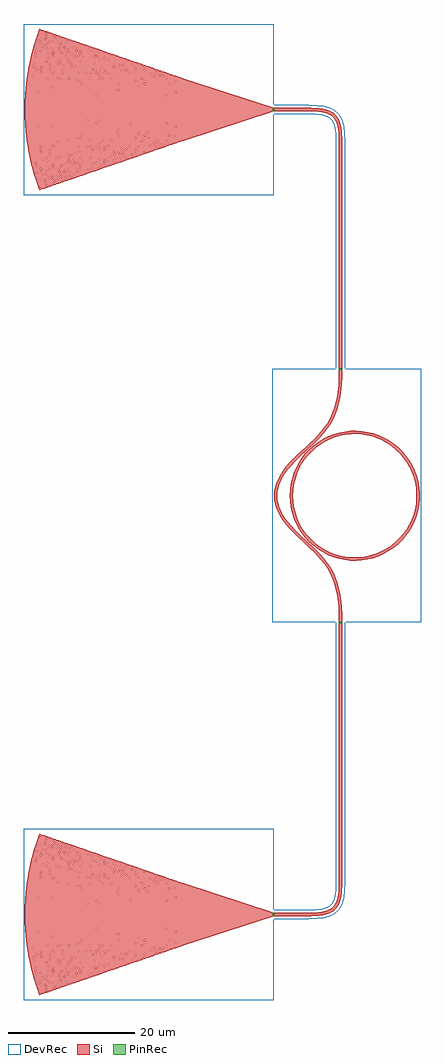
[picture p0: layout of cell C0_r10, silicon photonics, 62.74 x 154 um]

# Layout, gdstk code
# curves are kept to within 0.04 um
from math import pi, radians
import gdstk
lib = gdstk.Library(unit=1e-6, precision=1e-09)
def R(c, l, rs):  # rectangles x0, y0, x1, y1
    for r in rs: c.add(gdstk.rectangle(r[:2], r[2:], *l))
def P(c, l, *ps):  # polygons
    for p in ps: c.add(gdstk.Polygon(p, *l))
Si = (1, 0)
PinRec = (1, 10)
DevRec = (68, 0)

grating_te_8deg = lib.new_cell('Grating_TE_8deg')
P(grating_te_8deg, Si, [(-4.885,-5.442),(-5.022,-5.044),(-4.233,-4.773),(-2.42,-4.338),(-0.596,-4.144),(0.821,-4.155),(2.325,-4.322),(3.677,-4.613),(5.022,-5.044),(4.885,-5.442),(3.395,-4.975),(2.107,-4.714),(0.799,-4.576),(-0.58,-4.565),(-1.704,-4.658),(-2.724,-4.823),(-3.818,-5.089)],
  [(-5.045,-4.978),(-5.076,-4.889),(-4.617,-4.725),(-3.684,-4.445),(-2.893,-4.26),(-2.189,-4.134),(-1.544,-4.05),(-0.83,-3.991),(-0.147,-3.968),(0.505,-3.976),(1.187,-4.016),(1.802,-4.08),(2.51,-4.187),(3.243,-4.336),(3.873,-4.496),(4.494,-4.684),(5.076,-4.889),(5.045,-4.978),(4.344,-4.735),(3.693,-4.545),(3.034,-4.386),(2.335,-4.253),(1.695,-4.162),(1.115,-4.105),(0.566,-4.073),(-0.113,-4.062),(-0.728,-4.08),(-1.277,-4.119),(-1.855,-4.182),(-2.527,-4.286),(-3.192,-4.421),(-3.818,-4.579),(-4.375,-4.745)],
  [(-5.097,-4.826),(-5.234,-4.427),(-4.187,-4.077),(-2.357,-3.664),(-0.52,-3.485),(0.99,-3.509),(2.456,-3.68),(3.929,-4.004),(5.234,-4.427),(5.097,-4.826),(3.732,-4.387),(2.328,-4.086),(0.736,-3.916),(-0.605,-3.91),(-1.778,-4.007),(-2.938,-4.199),(-4.078,-4.484)],
  [(-5.257,-4.361),(-5.288,-4.272),(-4.746,-4.08),(-3.904,-3.827),(-2.981,-3.61),(-2.314,-3.491),(-1.473,-3.384),(-0.763,-3.331),(-0.085,-3.312),(0.526,-3.321),(1.203,-3.36),(1.945,-3.438),(2.582,-3.535),(3.246,-3.666),(3.904,-3.827),(4.618,-4.038),(5.288,-4.272),(5.257,-4.361),(4.559,-4.118),(3.849,-3.91),(3.195,-3.752),(2.4,-3.6),(1.833,-3.519),(1.196,-3.454),(0.455,-3.413),(-0.152,-3.407),(-0.826,-3.429),(-1.465,-3.478),(-2.167,-3.564),(-2.732,-3.658),(-3.392,-3.796),(-4.141,-3.991),(-4.655,-4.149)],
  [(-5.31,-4.209),(-5.447,-3.81),(-4.257,-3.417),(-2.384,-3.005),(-0.542,-2.83),(1.03,-2.855),(2.453,-3.016),(3.988,-3.343),(5.447,-3.81),(5.31,-4.209),(3.888,-3.752),(2.391,-3.433),(0.936,-3.271),(-0.63,-3.255),(-1.818,-3.352),(-3.06,-3.556),(-4.182,-3.834)],
  [(-5.47,-3.744),(-5.5,-3.655),(-5.004,-3.478),(-4.163,-3.22),(-3.17,-2.981),(-2.372,-2.837),(-1.673,-2.746),(-1.04,-2.691),(-0.159,-2.657),(0.582,-2.667),(1.181,-2.701),(1.988,-2.783),(2.755,-2.901),(3.48,-3.048),(4.163,-3.22),(4.77,-3.401),(5.5,-3.655),(5.47,-3.744),(4.71,-3.481),(3.937,-3.257),(3.255,-3.095),(2.463,-2.947),(1.907,-2.868),(1.174,-2.795),(0.509,-2.759),(-0.088,-2.751),(-0.754,-2.769),(-1.559,-2.829),(-2.151,-2.9),(-2.877,-3.019),(-3.699,-3.197),(-4.241,-3.34),(-4.81,-3.513)],
  [(-5.522,-3.592),(-5.659,-3.193),(-4.423,-2.785),(-2.477,-2.357),(-0.563,-2.175),(0.998,-2.196),(2.584,-2.374),(4.178,-2.717),(5.659,-3.193),(5.522,-3.592),(4.043,-3.117),(2.487,-2.785),(1.009,-2.619),(-0.549,-2.596),(-1.891,-2.701),(-3.079,-2.892),(-4.248,-3.173)],
  [(-5.682,-3.127),(-5.713,-3.038),(-5.058,-2.808),(-4.147,-2.539),(-3.185,-2.316),(-2.464,-2.189),(-1.701,-2.09),(-0.971,-2.03),(-0.092,-2.001),(0.605,-2.012),(1.409,-2.062),(2.137,-2.142),(2.897,-2.261),(3.65,-2.416),(4.394,-2.606),(5.058,-2.808),(5.713,-3.038),(5.682,-3.127),(4.962,-2.876),(4.16,-2.64),(3.382,-2.453),(2.558,-2.299),(1.837,-2.2),(1.147,-2.136),(0.565,-2.105),(-0.164,-2.096),(-0.82,-2.116),(-1.583,-2.173),(-2.342,-2.266),(-2.989,-2.374),(-3.701,-2.525),(-4.3,-2.678),(-4.996,-2.887)],
  [(-5.734,-2.975),(-5.872,-2.577),(-4.48,-2.122),(-2.532,-1.703),(-0.584,-1.52),(1.073,-1.544),(2.792,-1.745),(4.408,-2.102),(5.872,-2.577),(5.734,-2.975),(4.199,-2.482),(2.619,-2.143),(0.938,-1.958),(-0.57,-1.941),(-1.854,-2.037),(-3.161,-2.241),(-4.517,-2.571)],
  [(-5.894,-2.511),(-5.925,-2.421),(-5.21,-2.171),(-4.338,-1.913),(-3.415,-1.695),(-2.593,-1.546),(-1.84,-1.446),(-0.931,-1.371),(-0.133,-1.346),(0.703,-1.36),(1.462,-1.409),(2.142,-1.482),(2.93,-1.602),(3.712,-1.759),(4.448,-1.943),(5.102,-2.136),(5.925,-2.421),(5.894,-2.511),(5.076,-2.227),(4.315,-2.005),(3.619,-1.835),(2.803,-1.676),(2.093,-1.571),(1.454,-1.503),(0.737,-1.456),(-0.095,-1.44),(-0.737,-1.456),(-1.605,-1.517),(-2.355,-1.606),(-3.101,-1.729),(-3.913,-1.903),(-4.606,-2.085),(-5.219,-2.273)],
  [(-5.947,-2.358),(-6.084,-1.96),(-4.567,-1.468),(-2.508,-1.037),(-0.488,-0.861),(1.19,-0.895),(2.816,-1.085),(4.567,-1.468),(6.084,-1.96),(5.947,-2.358),(4.317,-1.837),(2.791,-1.508),(1.125,-1.313),(-0.591,-1.286),(-1.885,-1.381),(-3.353,-1.612),(-4.647,-1.928)],
  [(-6.107,-1.894),(-6.137,-1.805),(-5.397,-1.545),(-4.493,-1.278),(-3.499,-1.044),(-2.725,-0.904),(-1.867,-0.79),(-1.043,-0.721),(-0.059,-0.69),(0.728,-0.705),(1.553,-0.759),(2.374,-0.852),(3.074,-0.963),(3.806,-1.11),(4.607,-1.309),(5.36,-1.533),(6.137,-1.805),(6.107,-1.894),(5.296,-1.612),(4.509,-1.38),(3.634,-1.169),(2.827,-1.016),(2.052,-0.906),(1.389,-0.84),(0.607,-0.795),(-0.137,-0.785),(-0.998,-0.813),(-1.662,-0.864),(-2.518,-0.968),(-3.212,-1.084),(-3.978,-1.246),(-4.659,-1.421),(-5.481,-1.672)],
  [(-6.159,-1.741),(-6.296,-1.343),(-4.726,-0.834),(-2.556,-0.382),(-0.545,-0.207),(1.231,-0.241),(2.875,-0.431),(4.649,-0.813),(6.296,-1.343),(6.159,-1.741),(4.548,-1.222),(2.813,-0.848),(1.165,-0.659),(-0.494,-0.627),(-1.913,-0.725),(-3.395,-0.953),(-4.776,-1.285)],
  [(-6.319,-1.277),(-6.35,-1.188),(-5.622,-0.932),(-4.649,-0.643),(-3.66,-0.409),(-2.819,-0.256),(-1.931,-0.138),(-0.998,-0.062),(-0.143,-0.035),(0.672,-0.047),(1.526,-0.099),(2.335,-0.186),(3.22,-0.324),(3.978,-0.478),(4.767,-0.675),(5.468,-0.882),(6.35,-1.188),(6.319,-1.277),(5.48,-0.985),(4.548,-0.714),(3.682,-0.51),(2.885,-0.362),(2.083,-0.25),(1.518,-0.193),(0.709,-0.143),(-0.061,-0.129),(-0.831,-0.148),(-1.639,-0.204),(-2.445,-0.296),(-3.205,-0.417),(-4.156,-0.616),(-4.782,-0.777),(-5.634,-1.035)],
  [(-6.372,-1.125),(-6.509,-0.726),(-4.846,-0.189),(-2.725,0.255),(-0.605,0.447),(1.273,0.413),(3.054,0.203),(4.846,-0.189),(6.509,-0.726),(6.372,-1.125),(4.744,-0.598),(2.95,-0.207),(1.164,-0.002),(-0.552,0.027),(-2.1,-0.087),(-3.512,-0.309),(-5.019,-0.675)],
  [(-6.531,-0.66),(-6.562,-0.571),(-5.651,-0.255),(-4.601,0.045),(-3.658,0.259),(-2.705,0.424),(-1.87,0.527),(-0.947,0.597),(-0.063,0.621),(0.821,0.603),(1.661,0.547),(2.497,0.453),(3.328,0.322),(4.193,0.144),(5.007,-0.063),(5.771,-0.294),(6.562,-0.571),(6.531,-0.66),(5.704,-0.371),(4.782,-0.1),(3.846,0.124),(3.065,0.272),(2.361,0.376),(1.486,0.467),(0.733,0.512),(-0.147,0.526),(-1.068,0.496),(-1.82,0.437),(-2.527,0.354),(-3.436,0.206),(-4.214,0.042),(-5.024,-0.166),(-5.863,-0.423)],
  [(-6.584,-0.508),(-6.721,-0.109),(-5.045,0.434),(-2.814,0.904),(-0.625,1.102),(1.271,1.07),(3.154,0.85),(5.045,0.434),(6.721,-0.109),(6.584,-0.508),(4.739,0.08),(2.965,0.454),(1.203,0.652),(-0.57,0.682),(-2.087,0.574),(-3.629,0.335),(-5.105,-0.02)],
  [(-6.744,-0.043),(-6.775,0.046),(-5.875,0.359),(-4.792,0.671),(-3.819,0.894),(-2.965,1.047),(-1.974,1.175),(-1.064,1.247),(-0.152,1.276),(0.847,1.258),(1.671,1.204),(2.535,1.109),(3.35,0.983),(4.159,0.822),(5.002,0.616),(5.875,0.359),(6.775,0.046),(6.744,-0.043),(5.93,0.242),(5.021,0.513),(4.098,0.739),(3.165,0.919),(2.395,1.032),(1.577,1.117),(0.757,1.167),(-0.065,1.182),(-1.016,1.155),(-1.836,1.094),(-2.823,0.973),(-3.505,0.859),(-4.351,0.682),(-5.187,0.467),(-5.93,0.242)],
  [(-6.796,0.109),(-6.934,0.507),(-5.033,1.114),(-2.77,1.572),(-0.556,1.76),(1.4,1.718),(3.254,1.497),(5.205,1.068),(6.934,0.507),(6.796,0.109),(5.018,0.682),(3.147,1.088),(1.198,1.309),(-0.632,1.336),(-2.067,1.235),(-3.747,0.979),(-5.186,0.636)],
  [(-6.956,0.573),(-6.987,0.663),(-6.102,0.972),(-5.029,1.285),(-3.851,1.555),(-2.969,1.709),(-1.991,1.832),(-1.053,1.904),(-0.202,1.931),(0.739,1.918),(1.679,1.861),(2.57,1.765),(3.411,1.637),(4.377,1.444),(5.202,1.239),(6.102,0.972),(6.987,0.663),(6.956,0.573),(5.948,0.922),(5.05,1.182),(4.184,1.39),(3.132,1.588),(2.337,1.699),(1.494,1.781),(0.647,1.827),(-0.156,1.837),(-1.004,1.812),(-1.849,1.751),(-2.824,1.635),(-3.616,1.504),(-4.575,1.301),(-5.308,1.112),(-6.202,0.84)],
  [(-7.009,0.726),(-7.146,1.124),(-5.143,1.761),(-2.901,2.215),(-0.573,2.415),(1.397,2.375),(3.308,2.152),(5.276,1.726),(7.146,1.124),(7.009,0.726),(5.218,1.305),(3.378,1.713),(1.46,1.948),(-0.517,1.995),(-2.132,1.887),(-3.864,1.623),(-5.434,1.245)],
  [(-7.169,1.19),(-7.199,1.28),(-6.111,1.654),(-5.092,1.944),(-4.014,2.19),(-3.014,2.364),(-2.144,2.475),(-1.131,2.556),(-0.115,2.587),(0.716,2.575),(1.868,2.502),(2.785,2.397),(3.696,2.251),(4.6,2.064),(5.449,1.849),(6.331,1.584),(7.199,1.28),(7.169,1.19),(6.085,1.563),(5.16,1.829),(4.221,2.051),(3.319,2.221),(2.5,2.339),(1.677,2.424),(0.759,2.479),(-0.069,2.493),(-0.988,2.469),(-1.86,2.408),(-2.819,2.297),(-3.636,2.166),(-4.535,1.982),(-5.514,1.733),(-6.391,1.465)],
  [(-7.221,1.343),(-7.358,1.741),(-5.342,2.385),(-2.94,2.871),(-0.637,3.069),(1.439,3.029),(3.36,2.807),(5.342,2.385),(7.358,1.741),(7.221,1.343),(5.332,1.951),(3.389,2.375),(1.504,2.602),(-0.579,2.649),(-2.288,2.529),(-3.981,2.267),(-5.643,1.865)],
  [(-7.381,1.807),(-7.412,1.896),(-6.247,2.296),(-5.197,2.592),(-4.039,2.852),(-3.009,3.027),(-2.018,3.146),(-1.022,3.218),(-0.024,3.243),(1.022,3.218),(1.923,3.155),(2.867,3.047),(3.759,2.905),(4.735,2.704),(5.655,2.47),(6.563,2.195),(7.412,1.896),(7.381,1.807),(6.491,2.119),(5.495,2.416),(4.578,2.643),(3.37,2.876),(2.433,3.007),(1.632,3.085),(0.781,3.134),(-0.118,3.148),(-1.112,3.119),(-2.009,3.052),(-2.949,2.94),(-3.883,2.786),(-4.762,2.601),(-5.723,2.353),(-6.58,2.09)],
  [(-7.433,1.959),(-7.571,2.358),(-5.355,3.057),(-2.977,3.527),(-0.559,3.727),(1.48,3.683),(3.601,3.43),(5.683,2.97),(7.571,2.358),(7.433,1.959),(5.488,2.586),(3.442,3.03),(1.358,3.269),(-0.644,3.303),(-2.45,3.17),(-4.098,2.911),(-5.764,2.51)],
  [(-7.593,2.424),(-7.624,2.513),(-6.519,2.895),(-5.346,3.229),(-4.203,3.487),(-3.24,3.655),(-2.124,3.794),(-1.149,3.868),(-0.122,3.898),(0.758,3.885),(1.783,3.825),(2.804,3.716),(3.77,3.568),(4.681,3.387),(5.676,3.142),(6.612,2.865),(7.624,2.513),(7.593,2.424),(6.585,2.775),(5.606,3.063),(4.709,3.284),(3.707,3.483),(2.841,3.616),(1.922,3.718),(0.95,3.783),(-0.024,3.804),(-1.096,3.776),(-2.116,3.7),(-2.938,3.603),(-3.947,3.44),(-4.994,3.218),(-5.841,2.998),(-6.77,2.715)],
  [(-7.646,2.576),(-7.783,2.975),(-5.554,3.681),(-2.962,4.19),(-0.574,4.382),(1.522,4.337),(3.652,4.086),(5.698,3.643),(7.783,2.975),(7.646,2.576),(5.693,3.208),(3.685,3.653),(1.642,3.906),(-0.564,3.961),(-2.374,3.838),(-4.215,3.555),(-5.881,3.156)],
  [(-7.806,3.041),(-7.837,3.13),(-7.271,3.334),(-6.605,3.552),(-5.446,3.878),(-4.32,4.131),(-3.38,4.296),(-2.383,4.426),(-1.281,4.517),(-0.176,4.553),(0.729,4.542),(1.883,4.474),(2.832,4.373),(3.826,4.223),(5.007,3.984),(5.931,3.75),(6.796,3.492),(7.837,3.13),(7.806,3.041),(6.817,3.386),(5.667,3.723),(4.597,3.978),(3.663,4.155),(2.672,4.298),(1.876,4.38),(0.826,4.444),(-0.125,4.459),(-0.976,4.438),(-2.075,4.362),(-3.02,4.253),(-4.106,4.076),(-5.085,3.869),(-5.956,3.645),(-6.864,3.371)],
  [(-7.858,3.193),(-7.995,3.591),(-5.705,4.317),(-3.246,4.812),(-0.641,5.036),(1.666,4.984),(3.752,4.733),(5.854,4.278),(7.995,3.591),(7.858,3.193),(5.948,3.816),(3.638,4.325),(1.486,4.574),(-0.58,4.616),(-2.39,4.495),(-4.233,4.218),(-6.045,3.789)],
  [(-8.018,3.657),(-8.049,3.747),(-6.882,4.15),(-6.191,4.356),(-5.594,4.515),(-4.437,4.775),(-3.369,4.96),(-2.294,5.094),(-1.213,5.177),(-0.129,5.209),(1.007,5.187),(1.985,5.123),(3.012,5.01),(4.133,4.833),(5.143,4.624),(6.191,4.356),(7.225,4.039),(8.049,3.747),(8.018,3.657),(6.953,4.028),(5.969,4.319),(4.872,4.588),(3.864,4.785),(2.949,4.923),(1.978,5.029),(0.951,5.095),(-0.026,5.115),(-1.106,5.088),(-2.132,5.015),(-3.255,4.881),(-4.117,4.74),(-5.073,4.543),(-6.068,4.292),(-6.953,4.028)],
  [(-8.071,3.81),(-8.208,4.208),(-5.653,5.005),(-3.228,5.476),(-0.553,5.694),(1.605,5.645),(3.8,5.389),(6.009,4.913),(8.208,4.208),(8.071,3.81),(6.009,4.477),(3.839,4.955),(1.63,5.221),(-0.647,5.27),(-2.558,5.136),(-4.348,4.862),(-6.407,4.365)],
  [(-8.231,4.274),(-8.261,4.364),(-7.615,4.596),(-6.963,4.809),(-5.69,5.165),(-4.554,5.419),(-3.511,5.601),(-2.407,5.741),(-1.298,5.829),(-0.186,5.864),(1.033,5.842),(2.038,5.776),(3.249,5.639),(4.19,5.488),(5.278,5.264),(6.303,5.003),(7.265,4.713),(8.261,4.364),(8.231,4.274),(7.288,4.606),(6.026,4.981),(5.053,5.218),(3.81,5.458),(2.818,5.6),(1.925,5.691),(0.977,5.75),(-0.132,5.77),(-0.977,5.75),(-2.03,5.682),(-3.08,5.566),(-4.174,5.395),(-5.156,5.195),(-6.331,4.897),(-7.288,4.606)],
  [(-8.283,4.427),(-8.42,4.825),(-5.904,5.616),(-3.258,6.133),(-0.621,6.348),(1.592,6.303),(3.845,6.045),(6.113,5.562),(8.42,4.825),(8.283,4.427),(6.116,5.125),(3.887,5.611),(1.673,5.875),(-0.558,5.928),(-2.519,5.799),(-4.514,5.497),(-6.32,5.069)],
  [(-8.443,4.891),(-8.474,4.98),(-7.245,5.405),(-6.57,5.607),(-5.941,5.776),(-4.671,6.063),(-3.655,6.241),(-2.415,6.399),(-1.168,6.492),(-0.136,6.52),(1.06,6.497),(2.036,6.434),(3.171,6.31),(4.19,6.153),(5.255,5.94),(6.361,5.665),(7.503,5.322),(8.474,4.98),(8.443,4.891),(7.373,5.265),(6.234,5.602),(4.972,5.905),(3.909,6.105),(2.891,6.251),(1.867,6.353),(0.785,6.413),(-0.19,6.425),(-1.218,6.395),(-2.352,6.31),(-3.32,6.195),(-4.335,6.031),(-5.5,5.787),(-6.442,5.545),(-7.373,5.265)],
  [(-8.495,5.043),(-8.633,5.442),(-7.223,5.924),(-5.946,6.28),(-4.596,6.577),(-3.175,6.805),(-0.471,7.007),(1.909,6.937),(4.16,6.656),(6.374,6.169),(8.633,5.442),(8.495,5.043),(6.22,5.774),(4.041,6.249),(1.716,6.529),(-0.627,6.582),(-2.53,6.457),(-4.523,6.162),(-6.639,5.658)],
  [(-8.655,5.508),(-8.686,5.597),(-8.112,5.805),(-7.374,6.049),(-6.144,6.399),(-5.55,6.544),(-4.788,6.707),(-3.691,6.898),(-2.586,7.04),(-1.365,7.138),(-0.195,7.175),(1.031,7.154),(2.032,7.092),(3.25,6.961),(4.296,6.799),(5.387,6.581),(6.52,6.299),(7.744,5.93),(8.686,5.597),(8.655,5.508),(7.664,5.857),(6.551,6.193),(5.476,6.464),(4.171,6.725),(3.239,6.867),(2.08,6.993),(0.972,7.062),(-0.139,7.081),(-1.138,7.055),(-2.356,6.968),(-3.458,6.837),(-4.499,6.666),(-5.476,6.464),(-6.551,6.193),(-7.664,5.857)],
  [(-8.708,5.66),(-8.845,6.059),(-7.509,6.519),(-6.037,6.931),(-3.31,7.448),(-0.596,7.66),(1.616,7.615),(4.095,7.331),(6.476,6.818),(8.845,6.059),(8.708,5.66),(6.376,6.409),(4.142,6.896),(1.758,7.183),(-0.475,7.241),(-2.537,7.115),(-4.691,6.796),(-6.752,6.305)],
  [(-8.868,6.125),(-8.898,6.214),(-8.203,6.464),(-7.554,6.677),(-6.79,6.903),(-6.129,7.077),(-4.849,7.362),(-3.612,7.572),(-2.422,7.715),(-1.17,7.804),(-0.086,7.831),(1.17,7.804),(2.422,7.715),(3.499,7.588),(4.569,7.415),(5.685,7.184),(6.79,6.903),(7.771,6.608),(8.898,6.214),(8.868,6.125),(7.636,6.552),(6.492,6.886),(5.278,7.178),(4.105,7.4),(2.98,7.56),(2.017,7.656),(0.995,7.717),(-0.199,7.736),(-1.223,7.707),(-2.357,7.626),(-3.431,7.502),(-4.553,7.322),(-5.61,7.104),(-6.821,6.796),(-7.798,6.5)],
  [(-8.92,6.277),(-9.057,6.676),(-7.634,7.164),(-6.013,7.61),(-3.389,8.098),(-0.61,8.315),(1.887,8.253),(4.25,7.969),(6.799,7.408),(9.057,6.676),(8.92,6.277),(6.531,7.044),(4.243,7.543),(1.973,7.824),(-0.601,7.894),(-2.77,7.749),(-4.693,7.462),(-6.751,6.984)],
  [(-9.08,6.742),(-9.111,6.831),(-8.399,7.087),(-7.679,7.322),(-6.445,7.672),(-5.707,7.85),(-5.022,7.995),(-3.814,8.204),(-2.538,8.362),(-1.431,8.447),(-0.146,8.486),(1.081,8.464),(2.247,8.389),(3.351,8.269),(4.621,8.071),(5.821,7.824),(6.952,7.536),(8.012,7.216),(9.111,6.831),(9.08,6.742),(7.819,7.179),(6.76,7.491),(5.404,7.82),(4.261,8.038),(3.224,8.19),(2.008,8.314),(1.019,8.372),(-0.087,8.392),(-1.31,8.359),(-2.414,8.279),(-3.513,8.152),(-4.605,7.978),(-5.631,7.77),(-6.76,7.491),(-7.819,7.179)],
  [(-9.133,6.894),(-9.27,7.292),(-7.756,7.81),(-6.038,8.276),(-4.526,8.586),(-3.174,8.786),(-0.506,8.973),(2.05,8.898),(4.526,8.586),(6.959,8.042),(9.27,7.292),(9.133,6.894),(6.743,7.664),(4.344,8.19),(1.786,8.495),(-0.615,8.549),(-2.778,8.407),(-4.977,8.074),(-7.025,7.586)],
  [(-9.292,7.358),(-9.323,7.448),(-8.538,7.729),(-7.801,7.968),(-6.999,8.201),(-6.305,8.381),(-5.022,8.662),(-3.725,8.879),(-2.479,9.026),(-1.286,9.111),(-0.09,9.142),(1.106,9.119),(2.3,9.042),(3.37,8.927),(4.611,8.738),(5.899,8.477),(6.941,8.217),(8.199,7.842),(9.323,7.448),(9.292,7.358),(8.002,7.806),(6.803,8.156),(5.53,8.462),(4.302,8.695),(3.241,8.848),(2.114,8.963),(1.043,9.027),(-0.209,9.047),(-1.519,9.004),(-2.47,8.932),(-3.713,8.785),(-4.771,8.613),(-5.995,8.358),(-7.148,8.062),(-8.228,7.733)],
  [(-9.345,7.511),(-9.482,7.909),(-7.818,8.474),(-6.413,8.859),(-5.048,9.156),(-3.367,9.422),(-0.578,9.627),(2.036,9.556),(4.57,9.243),(7.118,8.676),(9.482,7.909),(9.345,7.511),(6.958,8.283),(4.622,8.806),(2.007,9.136),(-0.51,9.207),(-2.842,9.059),(-4.975,8.741),(-7.246,8.203)],
  [(-9.505,7.975),(-9.536,8.064),(-8.675,8.372),(-7.862,8.632),(-6.627,8.975),(-5.256,9.283),(-3.992,9.502),(-2.718,9.661),(-1.498,9.756),(-0.153,9.797),(1.131,9.774),(2.413,9.69),(3.75,9.537),(4.716,9.384),(5.973,9.131),(7.217,8.819),(8.443,8.449),(9.536,8.064),(9.505,7.975),(8.185,8.433),(7.018,8.775),(5.895,9.052),(4.58,9.312),(3.496,9.476),(2.345,9.601),(1.189,9.677),(-0.091,9.703),(-1.189,9.677),(-2.345,9.601),(-3.496,9.476),(-4.701,9.291),(-5.895,9.052),(-7.194,8.727),(-8.3,8.396)],
  [(-9.557,8.128),(-9.695,8.526),(-8.171,9.049),(-6.557,9.497),(-5.039,9.824),(-3.566,10.057),(-0.653,10.281),(1.958,10.219),(4.611,9.9),(7.218,9.326),(9.695,8.526),(9.557,8.128),(6.998,8.949),(4.485,9.494),(1.869,9.803),(-0.583,9.861),(-2.907,9.711),(-5.148,9.374),(-7.351,8.852)],
  [(-9.717,8.592),(-9.748,8.681),(-9.045,8.935),(-8.216,9.207),(-7.438,9.436),(-6.774,9.612),(-5.985,9.799),(-5.251,9.951),(-4.019,10.16),(-2.84,10.307),(-1.469,10.414),(-0.094,10.453),(1.157,10.429),(2.467,10.343),(3.647,10.212),(4.944,10.008),(6.228,9.744),(7.438,9.436),(8.631,9.074),(9.748,8.681),(9.717,8.592),(8.545,9.003),(7.234,9.394),(6.027,9.693),(4.621,9.969),(3.389,10.15),(2.273,10.265),(1.091,10.337),(-0.156,10.358),(-1.215,10.332),(-2.459,10.249),(-3.698,10.11),(-4.989,9.904),(-6.027,9.693),(-7.354,9.361),(-8.545,9.003)],
  [(-9.77,8.744),(-9.907,9.143),(-8.289,9.696),(-6.577,10.165),(-3.707,10.699),(-2.191,10.859),(-0.54,10.939),(2.191,10.859),(4.712,10.547),(7.437,9.944),(9.907,9.143),(9.77,8.744),(7.213,9.568),(4.708,10.12),(2.035,10.448),(-0.47,10.519),(-2.722,10.389),(-5.14,10.042),(-7.455,9.502)],
  [(-9.93,9.209),(-9.96,9.298),(-9.182,9.578),(-8.334,9.854),(-6.922,10.249),(-6.24,10.412),(-5.49,10.571),(-4.106,10.809),(-2.775,10.972),(-1.437,11.072),(-0.16,11.108),(1.246,11.081),(2.521,10.996),(3.853,10.845),(5.051,10.654),(6.364,10.384),(7.477,10.103),(8.698,9.739),(9.96,9.298),(9.93,9.209),(8.611,9.668),(7.331,10.045),(6.034,10.361),(4.722,10.616),(3.526,10.793),(2.386,10.913),(1.115,10.992),(-0.096,11.014),(-1.306,10.984),(-2.513,10.902),(-3.779,10.76),(-5.036,10.561),(-6.406,10.277),(-7.393,10.028),(-8.732,9.629)],
  [(-9.982,9.361),(-10.119,9.76),(-8.529,10.305),(-6.844,10.773),(-5.132,11.138),(-3.658,11.366),(-2.043,11.527),(-0.617,11.593),(2.043,11.527),(4.813,11.194),(7.534,10.595),(10.119,9.76),(9.982,9.361),(7.432,10.186),(4.874,10.756),(2.08,11.102),(-0.544,11.173),(-2.972,11.022),(-5.44,10.651),(-7.678,10.118)],
  [(-10.142,9.826),(-10.173,9.915),(-9.316,10.222),(-8.325,10.539),(-7.006,10.902),(-6.373,11.053),(-5.48,11.24),(-4.774,11.367),(-4,11.486),(-2.769,11.631),(-1.403,11.73),(-0.033,11.764),(1.272,11.736),(2.574,11.649),(4,11.486),(5.159,11.3),(6.373,11.053),(7.699,10.72),(8.946,10.345),(10.173,9.915),(10.142,9.826),(9.349,10.111),(8.672,10.334),(7.551,10.662),(6.417,10.946),(5.591,11.122),(4.888,11.252),(3.73,11.427),(2.307,11.577),(1.008,11.652),(-0.163,11.669),(-1.528,11.629),(-2.761,11.537),(-4.053,11.383),(-5.208,11.195),(-6.417,10.946),(-7.738,10.611),(-9.042,10.214)],
  [(-10.194,9.978),(-10.332,10.376),(-8.518,10.992),(-6.795,11.458),(-5.109,11.807),(-3.669,12.025),(-2.086,12.181),(-0.497,12.251),(2.351,12.161),(4.914,11.841),(7.756,11.212),(10.332,10.376),(10.194,9.978),(7.716,10.786),(4.849,11.424),(2.189,11.751),(-0.621,11.827),(-2.971,11.681),(-5.427,11.32),(-7.716,10.786)],
  [(-10.354,10.442),(-10.385,10.532),(-9.51,10.845),(-8.562,11.15),(-7.282,11.507),(-6.441,11.708),(-5.725,11.859),(-4.281,12.107),(-3.026,12.264),(-1.565,12.378),(-0.167,12.419),(1.099,12.399),(2.562,12.308),(3.82,12.171),(5.136,11.969),(6.441,11.708),(7.796,11.371),(9.132,10.971),(10.385,10.532),(10.354,10.442),(9.042,10.901),(7.709,11.297),(6.357,11.63),(4.924,11.91),(3.743,12.086),(2.422,12.225),(1.162,12.302),(-0.1,12.325),(-1.428,12.29),(-2.554,12.214),(-3.743,12.086),(-5.121,11.876),(-6.486,11.601),(-7.837,11.262),(-9.168,10.86)],
  [(-10.407,10.595),(-10.544,10.993),(-8.629,11.641),(-6.803,12.128),(-5.148,12.465),(-3.677,12.684),(-2.129,12.835),(-0.575,12.905),(2.197,12.83),(5.015,12.488),(7.915,11.846),(10.544,10.993),(10.407,10.595),(7.684,11.472),(5.081,12.049),(2.368,12.394),(-0.501,12.485),(-2.966,12.34),(-5.54,11.965),(-8.197,11.329)],
  [(-10.567,11.059),(-10.598,11.149),(-9.641,11.49),(-8.802,11.76),(-8.086,11.969),(-7.299,12.177),(-6.572,12.349),(-5.708,12.529),(-4.302,12.766),(-3.426,12.879),(-2.75,12.949),(-1.529,13.036),(-0.034,13.075),(0.85,13.063),(1.529,13.036),(2.75,12.949),(4.167,12.785),(5.508,12.567),(6.705,12.319),(8.086,11.969),(9.384,11.575),(10.598,11.149),(10.567,11.059),(9.164,11.548),(7.802,11.949),(6.487,12.271),(5.159,12.534),(3.954,12.719),(2.539,12.873),(1.186,12.957),(-0.169,12.98),(-1.457,12.945),(-2.742,12.855),(-4.021,12.71),(-5.426,12.486),(-6.817,12.196),(-8.193,11.841),(-9.485,11.443)],
  [(-10.619,11.212),(-10.756,11.61),(-8.868,12.251),(-7.074,12.736),(-5.455,13.075),(-3.956,13.309),(-2.447,13.468),(-0.656,13.559),(2.447,13.468),(5.184,13.123),(8.075,12.48),(10.756,11.61),(10.619,11.212),(7.841,12.107),(5.118,12.707),(2.348,13.053),(-0.579,13.139),(-2.959,12.999),(-5.52,12.635),(-8.103,12.035)],
  [(-10.779,11.676),(-10.81,11.765),(-9.965,12.069),(-8.978,12.389),(-8.115,12.639),(-7.378,12.831),(-5.959,13.147),(-4.594,13.385),(-3.77,13.498),(-2.943,13.589),(-1.629,13.687),(-0.173,13.73),(1.144,13.709),(1.906,13.671),(2.805,13.602),(4.045,13.463),(5.482,13.237),(6.637,13.005),(8.115,12.639),(9.44,12.244),(10.81,11.765),(10.779,11.676),(9.479,12.132),(8.225,12.511),(6.82,12.867),(6.077,13.027),(5.195,13.192),(3.896,13.387),(2.521,13.532),(1.21,13.612),(-0.035,13.636),(-1.486,13.6),(-2.797,13.508),(-4.102,13.36),(-5.467,13.144),(-6.82,12.867),(-8.225,12.511),(-9.479,12.132)],
  [(-10.832,11.828),(-10.969,12.227),(-9.11,12.86),(-6.94,13.439),(-5.355,13.758),(-3.825,13.986),(-2.145,14.147),(-0.598,14.216),(2.425,14.127),(5.286,13.77),(8.234,13.114),(10.969,12.227),(10.832,11.828),(8.131,12.705),(5.152,13.365),(2.326,13.712),(-0.452,13.797),(-2.88,13.665),(-5.63,13.28),(-8.265,12.668)],
  [(-10.992,12.293),(-11.022,12.382),(-10.094,12.715),(-9.155,13.018),(-8.274,13.273),(-7.592,13.452),(-6.076,13.791),(-4.614,14.044),(-3.141,14.228),(-1.732,14.338),(-0.248,14.385),(1.167,14.364),(2.014,14.321),(2.86,14.255),(4.264,14.094),(5.59,13.883),(6.905,13.615),(8.274,13.273),(9.626,12.87),(11.022,12.382),(10.992,12.293),(10.199,12.579),(9.532,12.801),(8.522,13.106),(7.775,13.308),(6.473,13.613),(5.297,13.839),(3.833,14.055),(2.501,14.191),(1.234,14.267),(-0.176,14.291),(-1.445,14.258),(-2.852,14.161),(-4.183,14.01),(-5.644,13.777),(-6.954,13.507),(-8.319,13.163),(-9.666,12.758)],
  [(-11.044,12.445),(-11.181,12.844),(-9.287,13.489),(-7.214,14.047),(-5.53,14.392),(-3.97,14.628),(-2.401,14.786),(-0.61,14.871),(2.544,14.775),(5.53,14.392),(8.394,13.748),(11.181,12.844),(11.044,12.445),(8.291,13.339),(5.323,14),(2.301,14.371),(-0.602,14.45),(-3.218,14.29),(-5.88,13.899),(-8.563,13.263)],
  [(-11.204,12.91),(-11.235,12.999),(-10.152,13.384),(-9.194,13.689),(-8.295,13.945),(-7.598,14.124),(-6.757,14.318),(-5.981,14.476),(-4.56,14.714),(-3.632,14.834),(-2.915,14.908),(-1.477,15.007),(-0.108,15.041),(1.189,15.019),(2.7,14.927),(4.061,14.782),(5.556,14.554),(6.405,14.392),(7.108,14.24),(8.434,13.907),(9.194,13.689),(9.948,13.452),(11.235,12.999),(11.204,12.91),(9.989,13.339),(9.237,13.577),(8.411,13.815),(6.949,14.179),(5.541,14.461),(4.263,14.66),(2.907,14.814),(1.401,14.916),(-0.036,14.947),(-1.401,14.916),(-2.907,14.814),(-4.263,14.66),(-5.541,14.461),(-6.949,14.179),(-8.411,13.815),(-9.237,13.577),(-9.989,13.339)],
  [(-11.256,13.062),(-11.394,13.46),(-9.394,14.139),(-7.28,14.703),(-5.635,15.038),(-3.828,15.305),(-2.009,15.47),(-0.548,15.528),(2.446,15.44),(5.491,15.063),(8.553,14.382),(11.394,13.46),(11.256,13.062),(8.381,13.992),(5.425,14.647),(2.345,15.025),(-0.614,15.105),(-3.424,14.927),(-5.993,14.544),(-8.52,13.954)],
  [(-11.416,13.526),(-11.447,13.616),(-10.483,13.961),(-9.508,14.276),(-8.593,14.541),(-7.742,14.762),(-6.956,14.944),(-6.166,15.107),(-4.647,15.363),(-3.189,15.54),(-1.725,15.651),(-0.184,15.696),(1.212,15.674),(2.018,15.634),(2.824,15.574),(4.21,15.423),(5.589,15.213),(7.028,14.928),(7.742,14.762),(8.593,14.541),(10.066,14.1),(11.447,13.616),(11.416,13.526),(10.662,13.8),(9.831,14.076),(8.992,14.331),(8.076,14.581),(6.723,14.898),(5.502,15.132),(4.054,15.348),(2.743,15.486),(1.355,15.574),(-0.11,15.602),(-1.574,15.564),(-3.035,15.46),(-4.562,15.28),(-5.934,15.055),(-7.365,14.755),(-8.781,14.391),(-10.109,13.987)],
  [(-11.469,13.679),(-11.606,14.077),(-9.498,14.79),(-7.415,15.343),(-5.886,15.658),(-4.195,15.92),(-2.418,16.099),(-0.633,16.182),(2.566,16.088),(5.593,15.71),(8.712,15.016),(11.606,14.077),(11.469,13.679),(8.61,14.607),(5.6,15.281),(2.463,15.673),(-0.552,15.762),(-3.269,15.602),(-5.961,15.216),(-8.751,14.568)],
  [(-11.629,14.143),(-11.659,14.233),(-10.607,14.608),(-9.613,14.927),(-8.103,15.346),(-7.304,15.537),(-6.354,15.737),(-5.471,15.897),(-4.659,16.023),(-3.1,16.207),(-1.608,16.313),(-0.112,16.352),(1.458,16.32),(2.876,16.227),(4.289,16.073),(5.103,15.957),(5.913,15.82),(7.304,15.537),(8.752,15.175),(9.613,14.927),(10.395,14.679),(11.659,14.233),(11.629,14.143),(10.79,14.446),(9.943,14.726),(8.945,15.024),(8.226,15.217),(6.994,15.509),(5.604,15.779),(4.351,15.97),(2.869,16.133),(1.38,16.229),(-0.187,16.257),(-1.603,16.219),(-2.869,16.133),(-4.351,15.97),(-5.163,15.852),(-5.898,15.727),(-7.357,15.428),(-8.873,15.044),(-10.297,14.612)],
  [(-11.681,14.296),(-11.818,14.694),(-9.671,15.42),(-7.477,16),(-5.994,16.304),(-4.197,16.58),(-2.235,16.769),(-0.493,16.84),(1.175,16.823),(2.84,16.723),(5.845,16.33),(8.872,15.65),(11.818,14.694),(11.681,14.296),(8.697,15.261),(5.556,15.953),(2.508,16.327),(-0.637,16.416),(-3.478,16.239),(-6.366,15.805),(-8.985,15.181)],
  [(-11.841,14.76),(-11.872,14.849),(-11.801,14.876),(-10.8,15.232),(-9.569,15.622),(-8.103,16.02),(-7.214,16.227),(-6.395,16.396),(-5.496,16.557),(-4.744,16.672),(-3.308,16.845),(-2.473,16.917),(-1.637,16.968),(-0.19,17.007),(1.333,16.981),(2.853,16.887),(4.367,16.724),(5.195,16.605),(6.021,16.466),(7.363,16.194),(8.103,16.02),(8.985,15.789),(10.368,15.375),(11.872,14.849),(11.841,14.76),(10.915,15.093),(10.052,15.376),(9.181,15.636),(8.229,15.891),(6.899,16.198),(5.557,16.451),(4.28,16.64),(2.77,16.799),(1.405,16.884),(-0.114,16.913),(-1.405,16.884),(-2.921,16.786),(-3.601,16.72),(-4.581,16.6),(-6.005,16.373),(-7.418,16.085),(-8.229,15.891),(-9.035,15.677),(-10.557,15.214)],
  [(-11.894,14.912),(-12.031,15.311),(-9.845,16.05),(-7.687,16.623),(-5.95,16.977),(-4.042,17.259),(-2.352,17.418),(-0.579,17.494),(1.196,17.478),(2.814,17.383),(5.95,16.977),(9.031,16.284),(12.031,15.311),(11.894,14.912),(9.002,15.855),(5.882,16.561),(2.706,16.969),(-0.496,17.074),(-3.39,16.907),(-6.407,16.464),(-9.149,15.814)],
  [(-12.053,15.377),(-12.084,15.466),(-11.066,15.831),(-9.963,16.186),(-9.071,16.443),(-8.173,16.676),(-7.268,16.885),(-6.433,17.055),(-5.518,17.217),(-4.829,17.322),(-3.29,17.505),(-1.744,17.619),(-0.116,17.663),(0.659,17.657),(1.511,17.63),(2.904,17.54),(3.675,17.466),(4.522,17.364),(5.976,17.139),(7.495,16.835),(8.323,16.639),(9.071,16.443),(10.479,16.025),(11.213,15.781),(12.084,15.466),(12.053,15.377),(11.184,15.691),(10.306,15.981),(9.494,16.226),(8.601,16.471),(7.325,16.776),(5.961,17.046),(4.434,17.28),(2.896,17.446),(1.43,17.539),(0.58,17.564),(-0.193,17.568),(-1.585,17.532),(-2.434,17.482),(-3.281,17.411),(-4.74,17.239),(-5.58,17.111),(-6.417,16.962),(-7.777,16.674),(-9.123,16.331),(-10.6,15.887)],
  [(-12.106,15.529),(-12.243,15.928),(-10.094,16.657),(-7.823,17.263),(-6.055,17.623),(-4.27,17.891),(-2.394,18.072),(-0.668,18.148),(2.629,18.055),(5.9,17.65),(7.67,17.298),(9.191,16.918),(12.243,15.928),(12.106,15.529),(10.277,16.16),(8.413,16.687),(6.445,17.123),(4.684,17.412),(1.98,17.676),(-0.583,17.728),(-3.373,17.567),(-6.445,17.123),(-9.312,16.447)],
  [(-12.266,15.994),(-12.297,16.083),(-11.261,16.454),(-10.063,16.838),(-9.155,17.098),(-8.24,17.333),(-7.395,17.527),(-6.624,17.685),(-5.07,17.949),(-4.21,18.064),(-3.348,18.158),(-2.483,18.23),(-1.696,18.277),(-0.197,18.318),(0.513,18.315),(1.459,18.288),(2.876,18.2),(4.445,18.034),(6.004,17.799),(6.701,17.67),(7.626,17.476),(9.155,17.098),(10.063,16.838),(10.813,16.603),(12.297,16.083),(12.266,15.994),(11.233,16.364),(10.413,16.632),(9.661,16.858),(8.753,17.107),(7.3,17.451),(5.911,17.719),(4.356,17.951),(2.869,18.106),(1.377,18.197),(-0.118,18.224),(-1.613,18.187),(-2.477,18.136),(-3.261,18.071),(-4.668,17.91),(-5.446,17.796),(-6.375,17.636),(-7.761,17.349),(-8.753,17.107),(-9.435,16.922),(-10.712,16.537)],
  [(-12.318,16.146),(-12.456,16.545),(-10.193,17.309),(-7.881,17.921),(-6.003,18.297),(-4.264,18.552),(-2.435,18.726),(-0.519,18.806),(1.159,18.791),(2.834,18.696),(6.003,18.297),(7.725,17.956),(9.35,17.552),(12.456,16.545),(12.318,16.146),(10.532,16.764),(8.561,17.324),(6.636,17.753),(4.766,18.062),(1.935,18.335),(-0.672,18.382),(-3.747,18.187),(-6.636,17.753),(-9.475,17.08)],
  [(-12.478,16.611),(-12.509,16.7),(-11.38,17.103),(-10.313,17.445),(-9.467,17.69),(-8.615,17.914),(-7.758,18.117),(-6.817,18.314),(-6.028,18.459),(-5.157,18.598),(-4.283,18.715),(-3.326,18.818),(-2.446,18.89),(-1.645,18.936),(-0.12,18.974),(1.484,18.943),(3.086,18.84),(3.804,18.77),(4.76,18.654),(5.633,18.525),(6.423,18.389),(7.21,18.235),(8.226,18.009),(9.622,17.647),(11,17.229),(12.509,16.7),(12.478,16.611),(11.352,17.013),(10.593,17.26),(9.752,17.512),(8.749,17.783),(7.427,18.093),(5.935,18.379),(4.352,18.611),(2.919,18.759),(1.401,18.852),(-0.2,18.879),(-1.721,18.838),(-3.317,18.724),(-4.113,18.64),(-5.065,18.516),(-6.486,18.281),(-8.051,17.953),(-9.521,17.577),(-10.897,17.163),(-11.729,16.883)],
  [(-12.531,16.763),(-12.668,17.161),(-10.211,17.986),(-7.857,18.597),(-6.025,18.957),(-4.337,19.203),(-2.477,19.38),(-0.61,19.46),(1.016,19.451),(2.801,19.356),(6.025,18.957),(7.857,18.597),(9.51,18.186),(12.668,17.161),(12.531,16.763),(10.485,17.463),(8.709,17.961),(6.986,18.351),(5.087,18.678),(2.37,18.965),(-0.523,19.04),(-3.412,18.88),(-6.434,18.457),(-9.484,17.756)],
  [(-12.691,17.227),(-12.721,17.317),(-11.804,17.648),(-10.41,18.098),(-9.55,18.345),(-8.683,18.571),(-7.731,18.793),(-6.852,18.974),(-5.245,19.247),(-3.626,19.447),(-2.813,19.52),(-1.836,19.583),(-0.204,19.629),(0.694,19.623),(1.51,19.598),(2.243,19.56),(3.219,19.486),(4.841,19.304),(6.452,19.049),(8.049,18.722),(9.55,18.345),(11.109,17.88),(11.804,17.648),(12.721,17.317),(12.691,17.227),(11.775,17.558),(10.928,17.839),(10.074,18.099),(9.056,18.379),(7.474,18.752),(6.036,19.026),(4.587,19.242),(3.05,19.406),(1.425,19.507),(-0.122,19.535),(-1.587,19.5),(-2.563,19.444),(-3.374,19.377),(-4.91,19.199),(-6.436,18.956),(-7.474,18.752),(-8.188,18.593),(-9.605,18.232),(-10.385,18.007),(-11.237,17.739)],
  [(-0.25,-19.629),(-4.885,-5.442),(-3.03,-4.888),(-1.143,-4.6),(0.799,-4.576),(2.724,-4.823),(3.818,-5.089),(4.885,-5.442),(0.25,-19.629)])

antgc = lib.new_cell('ANTgc')
R(antgc, DevRec, [(-19.8,-13.5,19.629,13.5)])
antgc.add(gdstk.FlexPath([(19.529,0),(19.729,0)], 0.5, ends="flush", simple_path=True, layer=1, datatype=10))  # PinRec
antgc.add(gdstk.Reference(grating_te_8deg, (0,0), rotation=pi/2))
antgc.add(gdstk.Label('pin1', (19.629,0), layer=1, texttype=10))

c_c0 = lib.new_cell('C0')
P(c_c0, Si, [(20,-2.733),(19.345,-2.694),(18.04,-2.381),(17.392,-2.11),(16.106,-1.347),(15.468,-0.863),(14.2,0.279),(10.454,4.171),(9.226,5.204),(8.008,5.975),(7.399,6.269),(6.175,6.724),(4.325,7.202),(2.483,7.46),(0,7.5),(0,8),(2.517,7.958),(4.425,7.692),(6.325,7.201),(7.601,6.727),(8.242,6.417),(9.524,5.607),(10.796,4.537),(14.55,0.636),(15.782,-0.474),(16.394,-0.939),(17.608,-1.659),(18.21,-1.911),(18.808,-2.09),(20,-2.233),(21.192,-2.09),(21.79,-1.911),(22.392,-1.659),(23.606,-0.939),(24.218,-0.474),(25.45,0.636),(29.204,4.537),(30.476,5.607),(31.758,6.417),(32.399,6.727),(33.675,7.201),(35.575,7.692),(37.483,7.958),(40,8),(40,7.5),(37.517,7.46),(35.675,7.202),(33.825,6.724),(32.601,6.269),(31.992,5.975),(30.774,5.204),(29.546,4.171),(25.8,0.279),(24.532,-0.863),(23.894,-1.347),(22.608,-2.11),(21.96,-2.381),(20.655,-2.694)],
  [(20,-0.25),(20,0.25),(21.717,0.402),(23.38,0.855),(24.937,1.592),(25.661,2.062),(26.97,3.182),(28.062,4.516),(28.515,5.25),(29.218,6.823),(29.463,7.651),(29.729,9.353),(29.69,11.076),(29.35,12.766),(28.717,14.369),(28.296,15.122),(27.265,16.503),(26.662,17.119),(25.304,18.181),(24.56,18.618),(22.972,19.286),(21.29,19.664),(20.431,19.74),(18.71,19.664),(17.86,19.512),(17.028,19.286),(15.44,18.618),(14.696,18.181),(13.338,17.119),(12.735,16.503),(11.704,15.122),(10.932,13.581),(10.443,11.929),(10.252,10.216),(10.271,9.353),(10.537,7.651),(10.782,6.823),(11.485,5.25),(11.938,4.516),(13.03,3.182),(13.66,2.593),(15.063,1.592),(15.825,1.189),(17.442,0.592),(18.283,0.402),(20,0.25),(20,-0.25),(19.094,-0.21),(18.195,-0.09),(17.311,0.109),(15.611,0.737),(14.81,1.161),(14.049,1.655),(13.335,2.213),(12.672,2.833),(12.068,3.508),(11.525,4.235),(10.642,5.817),(10.052,7.53),(9.773,9.32),(9.753,10.227),(9.813,11.132),(10.171,12.908),(10.466,13.765),(10.836,14.593),(11.278,15.385),(11.788,16.134),(12.363,16.836),(13.685,18.074),(15.206,19.06),(16.025,19.448),(17.751,20),(18.643,20.16),(19.547,20.24),(20.453,20.24),(21.357,20.16),(22.249,20),(23.975,19.448),(24.794,19.06),(25.576,18.6),(26.315,18.074),(27.003,17.484),(28.212,16.134),(28.722,15.385),(29.164,14.593),(29.534,13.765),(29.829,12.908),(30.187,11.132),(30.247,10.227),(30.227,9.32),(29.948,7.53),(29.358,5.817),(28.475,4.235),(27.932,3.508),(27.328,2.833),(26.665,2.213),(25.951,1.655),(25.19,1.161),(24.389,0.737),(22.689,0.109),(21.805,-0.09),(20.906,-0.21)])
R(c_c0, DevRec, [(0,-3,40,20.5)])
c_c0.add(gdstk.FlexPath([(0.1,7.75),(-0.1,7.75)], 0.5, ends="flush", simple_path=True, layer=1, datatype=10))  # PinRec
c_c0.add(gdstk.FlexPath([(39.9,7.75),(40.1,7.75)], 0.5, ends="flush", simple_path=True, layer=1, datatype=10))  # PinRec
c_c0.add(gdstk.Label('pin1', (0,7.75), layer=1, texttype=10))
c_c0.add(gdstk.Label('pin2', (40,7.75), layer=1, texttype=10))

waveguide_16 = lib.new_cell('Waveguide$16')
P(waveguide_16, Si, [(10.31,86.07),(10.31,122),(10.245,123.499),(10.074,124.505),(9.813,125.22),(9.402,125.804),(8.89,126.195),(8.137,126.496),(7.241,126.666),(6.136,126.743),(0,126.75),(0,127.25),(6.15,127.243),(7.303,127.162),(8.108,127.02),(9.005,126.7),(9.711,126.203),(10.225,125.512),(10.579,124.549),(10.752,123.449),(10.81,122.003),(10.81,86.07)])
P(waveguide_16, DevRec, [(9.81,86.07),(9.81,122),(9.772,123.168),(9.653,124.099),(9.456,124.795),(9.189,125.284),(8.843,125.63),(8.354,125.897),(7.658,126.094),(6.727,126.213),(5.556,126.25),(0,126.25),(0,127.75),(6.841,127.709),(7.95,127.566),(8.914,127.289),(9.739,126.834),(10.393,126.18),(10.848,125.355),(11.125,124.391),(11.268,123.282),(11.31,122.025),(11.31,86.07)])
waveguide_16.add(gdstk.FlexPath([(0.05,127),(-0.05,127)], 0.5, ends="flush", simple_path=True, layer=1, datatype=10))  # PinRec
waveguide_16.add(gdstk.FlexPath([(10.56,86.12),(10.56,86.02)], 0.5, ends="flush", simple_path=True, layer=1, datatype=10))  # PinRec
waveguide_16.add(gdstk.Label('pin1', (0,127), layer=1, texttype=10))
waveguide_16.add(gdstk.Label('pin2', (10.56,86.07), layer=1, texttype=10))
waveguide_16.add(gdstk.Label('Lumerical_INTERCONNECT_library=Design kits/ebeam', (0,127), layer=68, texttype=0))
waveguide_16.add(gdstk.Label('Component=ebeam_wg_integral_1550', (0,127.5), layer=68, texttype=0))
waveguide_16.add(gdstk.Label('Spice_param:wg_length=49.941u wg_width=0.500u points="[[0.0,127.0],[10.56,127.0],[10.56,86.07]]" radius=5.0', (0,126.5), layer=68, texttype=0))

waveguide_17 = lib.new_cell('Waveguide$17')
P(waveguide_17, Si, [(0,-0.25),(0,0.25),(6.137,0.258),(7.242,0.335),(8.138,0.505),(8.891,0.806),(9.443,1.239),(9.842,1.838),(10.112,2.647),(10.264,3.696),(10.31,4.881),(10.31,46.07),(10.81,46.07),(10.81,4.879),(10.753,3.552),(10.6,2.537),(10.26,1.555),(9.763,0.849),(9.072,0.335),(8.27,0.023),(7.4,-0.149),(6.151,-0.242)])
P(waveguide_17, DevRec, [(0,-0.75),(0,0.75),(5.56,0.75),(6.728,0.788),(7.659,0.907),(8.355,1.104),(8.844,1.371),(9.19,1.717),(9.457,2.206),(9.654,2.902),(9.773,3.833),(9.81,5.001),(9.81,46.07),(11.31,46.07),(11.31,4.999),(11.269,3.719),(11.126,2.61),(10.849,1.646),(10.394,0.821),(9.74,0.167),(8.915,-0.288),(7.951,-0.565),(6.842,-0.708)])
waveguide_17.add(gdstk.FlexPath([(10.56,46.02),(10.56,46.12)], 0.5, ends="flush", simple_path=True, layer=1, datatype=10))  # PinRec
waveguide_17.add(gdstk.FlexPath([(0.05,0),(-0.05,0)], 0.5, ends="flush", simple_path=True, layer=1, datatype=10))  # PinRec
waveguide_17.add(gdstk.Label('pin1', (10.56,46.07), layer=1, texttype=10))
waveguide_17.add(gdstk.Label('pin2', (0,0), layer=1, texttype=10))
waveguide_17.add(gdstk.Label('Lumerical_INTERCONNECT_library=Design kits/ebeam', (10.56,46.07), layer=68, texttype=0))
waveguide_17.add(gdstk.Label('Component=ebeam_wg_integral_1550', (11.06,46.07), layer=68, texttype=0))
waveguide_17.add(gdstk.Label('Spice_param:wg_length=55.081u wg_width=0.500u points="[[10.56,46.07],[10.56,0.0],[0.0,0.0]]" radius=5.0', (10.06,46.07), layer=68, texttype=0))

c0_r10 = lib.new_cell('C0_r10')
c0_r10.add(gdstk.Reference(antgc, (-19.629,127)))
c0_r10.add(gdstk.Reference(c_c0, (2.81,86.07), rotation=3*pi/2))
c0_r10.add(gdstk.Reference(waveguide_16, (0,0)))
c0_r10.add(gdstk.Reference(waveguide_17, (0,0)))
c0_r10.add(gdstk.Reference(antgc, (-19.629,0)))

lib.write_gds('C0_r10.gds')
